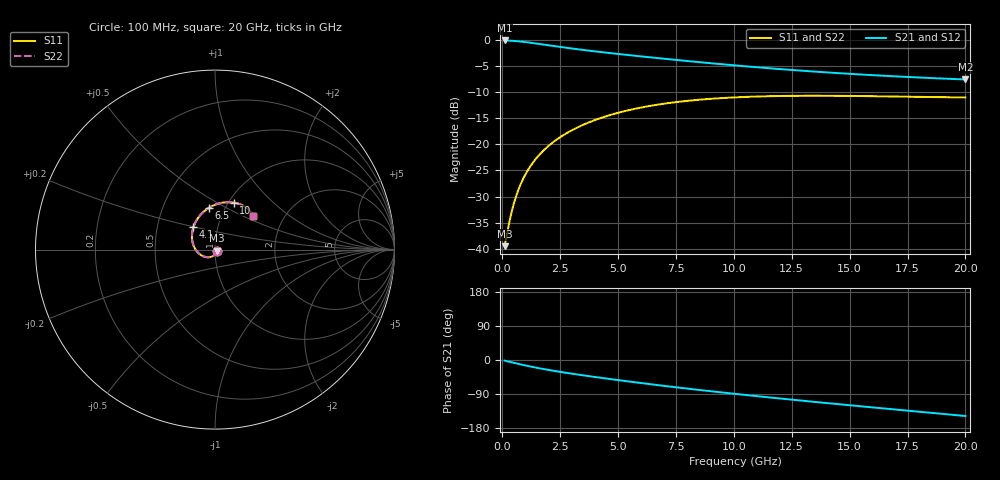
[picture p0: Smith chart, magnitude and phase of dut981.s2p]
! Touchstone file exported from HFSS 2024.1.0
!  File:  C:/UserFiles/LocalFiles/RDL_TSV_Batchsim/temp_RDL_TSV_981_1779973475.aedt
!  Generated:  09:17:46 PM May 28, 2026
!  Design:  RDL_TSV
!  Project:  temp_RDL_TSV_981_1779973475
!  Setup:  Setup1
!  Solution:  Sweep
! Variables:
!  dtsv = 11.41um
!  hbump = 3um
!  htsv = 96.15um
!  ldown = 297.32um
!  lrdl = 185.61um
!  p = 40
!  p1 = 51.59um
!  rhole = 10um
!  subl = 1634.4um
!  t = 450um
!  tdown = 2.92um
!  trdl = 3.85um
!  viad = 10um
!  wdown = 29.42um
!  wrdl = 14.26um
!  xbump = 18um
# GHz S MA R 50.000000
! Terminal data exported
! Port[1] = TM1_1_T1
! Port[2] = TM1_4_T1
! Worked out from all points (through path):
!   200 points, 100 MHz to 20 GHz, reference 50 ohm
!   highest |S21| = -0.09 dB at 100 MHz (marker M1); lowest = -7.6 dB at 20 GHz (marker M2)
!   group delay of S21, straight-line fit = 19.2 ps
!   lowest |S11| = -39.5 dB at 100 MHz (marker M3), VSWR 1.02, Z = 50.9 - j0.567 ohm
!   |S11| at or under -10 dB: start of sweep to end of sweep
!   |S22| runs from -39.5 to -10.7 dB; largest |S21 - S12| = 9.2e-15
!   S11 on the Smith chart (normalised r, x): 100 MHz: 1.02, -0.01; 4.1 GHz: 0.76, +0.20; 6.5 GHz: 0.84, +0.42; 10 GHz: 1.05, +0.60; 20 GHz: 1.40, +0.57
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0.1  0.01057 -31.8  0.9901 -1.5  0.9901 -1.5  0.01057 -31.8
! Gamma 0 0 0 0
! Port Impedance 50 0 50 0
0.3  0.01783 -70.6  0.9863 -4.6  0.9863 -4.6  0.01783 -70.6
0.4  0.0224 -82.3  0.9833 -6.0  0.9833 -6.0  0.0224 -82.3
0.6  0.03207 -99.9  0.9758 -8.9  0.9758 -8.9  0.03207 -99.9
0.7  0.03697 -107.1  0.9712 -10.4  0.9712 -10.4  0.03697 -107.1
0.9  0.04675 -119.7  0.9608 -13.1  0.9608 -13.1  0.04674 -119.7
1.2  0.06109 -136.0  0.9428 -17.0  0.9428 -17.0  0.06109 -136.0
1.6  0.07941 -154.4  0.9164 -21.9  0.9164 -21.9  0.0794 -154.4
2.1  0.101 -173.9  0.8831 -27.3  0.8831 -27.3  0.1009 -173.9
2.7  0.125 166.8  0.8459 -33.3  0.8459 -33.3  0.125 166.8
3.5  0.1542 146.1  0.8025 -40.5  0.8025 -40.5  0.1542 146.1
4.1  0.1741 133.5  0.7737 -45.7  0.7737 -45.7  0.174 133.5
5.2  0.206 114.8  0.7269 -54.6  0.7269 -54.6  0.2059 114.8
6.5  0.2361 97.9  0.6782 -64.7  0.6782 -64.7  0.236 97.9
6.8  0.2419 94.6  0.6677 -66.9  0.6677 -66.9  0.2418 94.6
8.4  0.2665 79.8  0.6164 -78.3  0.6164 -78.3  0.2664 79.8
10  0.2817 68.5  0.5722 -89.0  0.5722 -89.0  0.2815 68.5
10.1  0.2824 67.9  0.5696 -89.7  0.5696 -89.7  0.2822 67.9
11.7  0.29 59.4  0.5325 -99.8  0.5325 -99.8  0.2898 59.5
13.4  0.2924 52.6  0.4996 -110.1  0.4996 -110.1  0.2922 52.7
16.7  0.2879 44.5  0.4515 -129.1  0.4515 -129.1  0.2876 44.5
20  0.2816 41.5  0.4184 -147.8  0.4184 -147.8  0.2813 41.6
